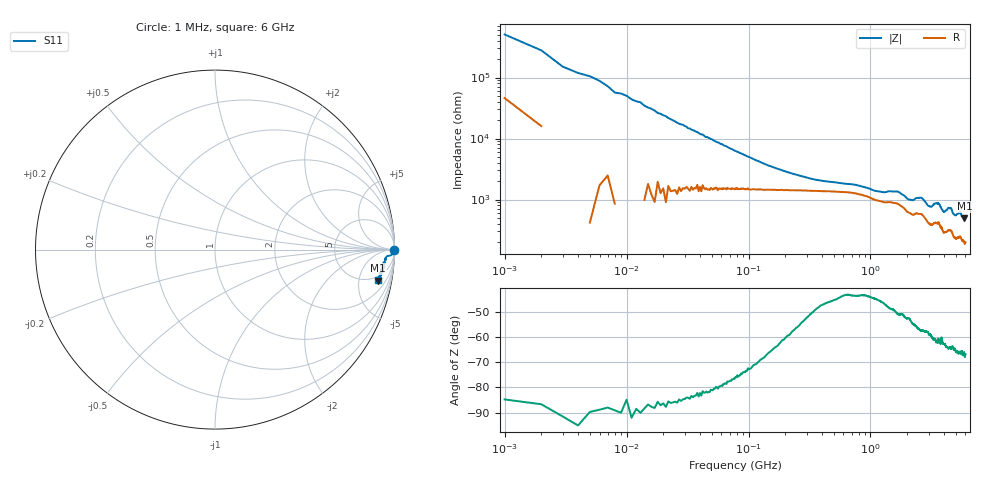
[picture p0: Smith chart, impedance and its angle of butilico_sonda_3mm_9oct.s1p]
! COPPER MOUNTAIN TECHNOLOGIES, R60, 23103002, 24.3.3/3.0
! Date: 9/10/2026 11:54:15
! Data: Format [Calibration Info]
! Frequency		S11: Mag/Ang RO
# HZ S MA R 50
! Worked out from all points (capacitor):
!   1280 points, 1 MHz to 6 GHz, reference 50 ohm
!   read as one part to ground: C = 323 fF near 7 MHz
!   lowest |Z| = 491 ohm at 5.895 GHz (marker M1)
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1000000  1 -0.0
1e8  0.9941 -1.1
2.25e8  0.9806 -1.8
4.05e8  0.9669 -2.1
7.55e8  0.9592 -2.3
1.11e9  0.95 -2.9
1.505e9  0.9527 -3.2
1.69e9  0.9543 -3.3
2.055e9  0.9413 -4.5
2.255e9  0.9432 -4.8
2.63e9  0.9504 -4.5
3.005e9  0.9364 -6.3
3.165e9  0.9362 -6.5
3.375e9  0.9455 -5.8
3.55e9  0.9471 -5.7
3.755e9  0.9416 -6.7
4.005e9  0.9297 -8.2
4.34e9  0.943 -7.1
4.505e9  0.9417 -7.1
4.595e9  0.9418 -7.2
4.74e9  0.9295 -8.6
4.96e9  0.9266 -9.4
5.255e9  0.9358 -8.8
5.455e9  0.9379 -8.5
5.605e9  0.9254 -9.8
5.745e9  0.9293 -9.8
5.895e9  0.9246 -10.7
6e9  0.9257 -10.4
